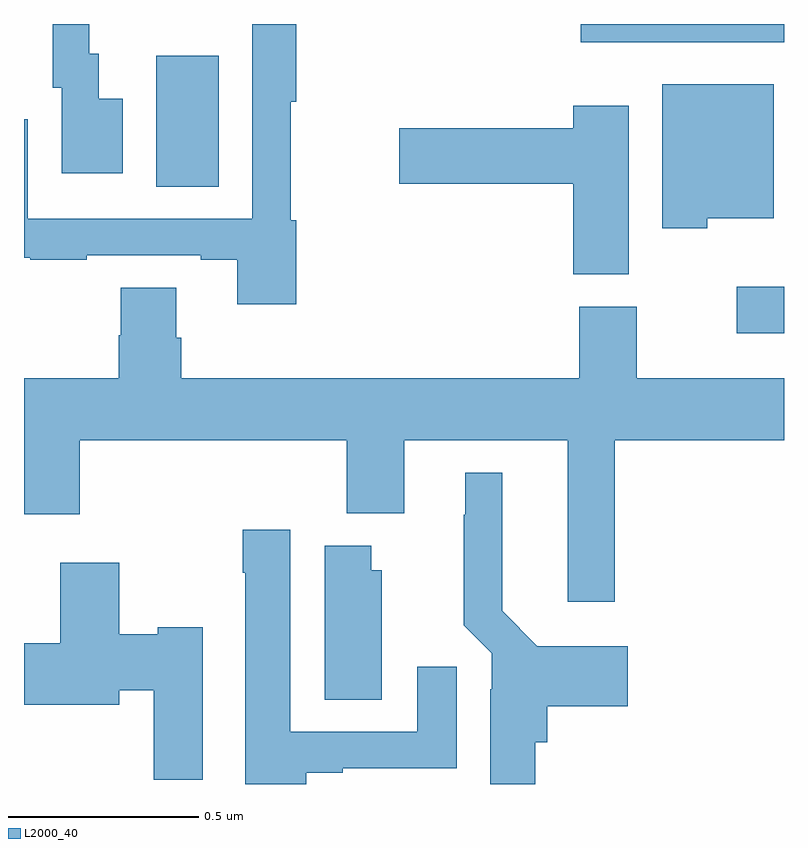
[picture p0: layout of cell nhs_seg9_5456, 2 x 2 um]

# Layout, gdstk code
import gdstk
lib = gdstk.Library(unit=1e-6, precision=1e-09)
def R(c, l, rs):  # rectangles x0, y0, x1, y1
    for r in rs: c.add(gdstk.rectangle(r[:2], r[2:], *l))
def P(c, l, *ps):  # polygons
    for p in ps: c.add(gdstk.Polygon(p, *l))
L2000_40 = (2000, 40)

nhs_seg9_5456 = lib.new_cell('nhs_seg9_5456')
R(nhs_seg9_5456, L2000_40, [(180.876,1212.686,181,1212.808), (179.348,1213.072,179.512,1213.416), (180.465,1213.452,181,1213.5)])
P(nhs_seg9_5456, L2000_40, [(179.26,1213.303),(179.197,1213.303),(179.197,1213.422),(179.172,1213.422),(179.172,1213.5),(179.075,1213.5),(179.075,1213.332),(179.099,1213.332),(179.099,1213.107),(179.26,1213.107)],
  [(179.717,1212.984),(179.702,1212.984),(179.702,1213.296),(179.717,1213.296),(179.717,1213.5),(179.601,1213.5),(179.601,1212.987),(179.01,1212.987),(179.01,1213.249),(179,1213.249),(179,1212.885),(179.017,1212.885),(179.017,1212.879),(179.165,1212.879),(179.165,1212.891),(179.465,1212.891),(179.465,1212.879),(179.561,1212.879),(179.561,1212.762),(179.717,1212.762)],
  [(180.798,1212.989),(180.973,1212.989),(180.973,1213.342),(180.68,1213.342),(180.68,1212.962),(180.798,1212.962)],
  [(180.592,1213.285),(180.446,1213.285),(180.446,1213.226),(179.988,1213.226),(179.988,1213.079),(180.446,1213.079),(180.446,1212.841),(180.592,1212.841)],
  [(180.554,1212.404),(181,1212.404),(181,1212.568),(180.613,1212.568),(180.613,1212.756),(180.461,1212.756),(180.461,1212.568),(179.414,1212.568),(179.414,1212.674),(179.401,1212.674),(179.401,1212.806),(179.254,1212.806),(179.254,1212.681),(179.249,1212.681),(179.249,1212.568),(179,1212.568),(179,1212.21),(179.147,1212.21),(179.147,1212.404),(179.849,1212.404),(179.849,1212.212),(180.001,1212.212),(180.001,1212.404),(180.431,1212.404),(180.431,1211.979),(180.554,1211.979)],
  [(180.346,1211.61),(180.377,1211.61),(180.377,1211.705),(180.589,1211.705),(180.589,1211.863),(180.351,1211.863),(180.259,1211.956),(180.259,1212.319),(180.161,1212.319),(180.161,1212.209),(180.157,1212.209),(180.157,1211.918),(180.231,1211.844),(180.231,1211.75),(180.227,1211.75),(180.227,1211.5),(180.346,1211.5)],
  [(179.743,1211.529),(179.839,1211.529),(179.839,1211.541),(180.139,1211.541),(180.139,1211.809),(180.035,1211.809),(180.035,1211.637),(179.701,1211.637),(179.701,1212.169),(179.575,1212.169),(179.575,1212.056),(179.582,1212.056),(179.582,1211.5),(179.743,1211.5)],
  [(179.941,1212.063),(179.914,1212.063),(179.914,1212.127),(179.792,1212.127),(179.792,1211.722),(179.941,1211.722)],
  [(179.47,1211.912),(179.352,1211.912),(179.352,1211.894),(179.251,1211.894),(179.251,1212.082),(179.096,1212.082),(179.096,1211.871),(179,1211.871),(179,1211.708),(179.251,1211.708),(179.251,1211.747),(179.341,1211.747),(179.341,1211.511),(179.47,1211.511)])

lib.write_gds('nhs_seg9_5456.gds')
